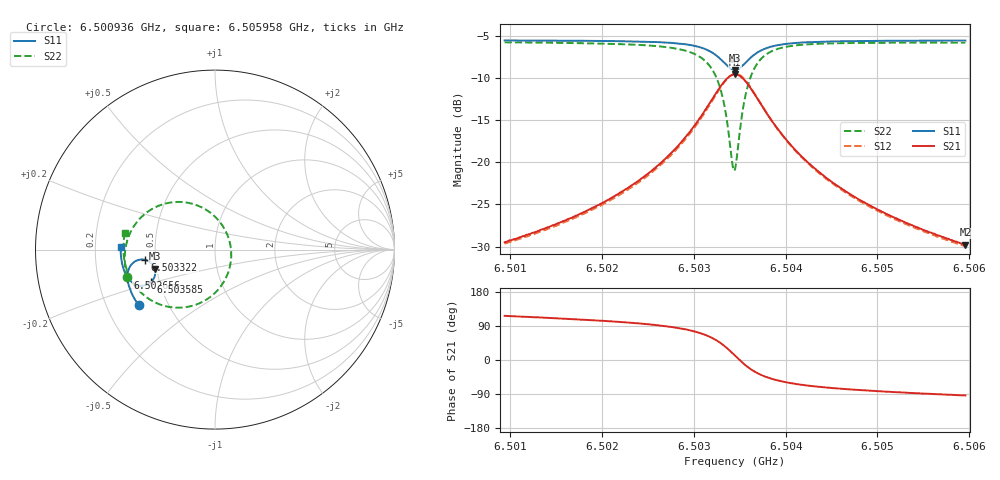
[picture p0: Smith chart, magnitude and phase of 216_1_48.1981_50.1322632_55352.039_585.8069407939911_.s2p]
#  HZ  S  RI  R  50.00
! Rohde & Schwarz Vector Network Analyzer
! Rohde-Schwarz,ZNB20-2Port,1311601062101988,3.16
! Created: UTC 3/20/2024, 11:45:44 AM
! freq[Hz]  re:S11  im:S11  re:S21  im:S21  re:S12  im:S12  re:S22  im:S22
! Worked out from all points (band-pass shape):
!   401 points, 6.500936 GHz to 6.505958 GHz, reference 50 ohm
!   highest |S21| = -9.59 dB at 6.503447 GHz (marker M1); lowest = -29.8 dB at 6.505958 GHz (marker M2)
!   |S21| within 3 dB of the highest: 6.503196 GHz to 6.503698 GHz (502.4 kHz wide, 0.00773 % of centre)
!   lowest |S11| = -9.1 dB at 6.503447 GHz (marker M3), VSWR 2.09, Z = 24.4 - j5.94 ohm
!   |S11| at or under -10 dB: nowhere
!   |S22| runs from -21.0 to -5.8 dB; largest |S21 - S12| = 0.012
!   S11 on the Smith chart (normalised r, x): 6.500936 GHz: 0.34, -0.29; 6.502656 GHz: 0.33, -0.14; 6.503322 GHz: 0.44, -0.06; 6.503585 GHz: 0.45, -0.19; 6.505958 GHz: 0.31, +0.01
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6.5009362e9  -0.4257 -0.3099  -0.015 0.03  -0.0131 0.0302  -0.4896 -0.1553
6.5017773e9  -0.462 -0.2479  -0.0141 0.0479  -0.0117 0.0475  -0.5028 -0.066
6.5022418e9  -0.4782 -0.2066  -0.0113 0.0674  -0.00829 0.0663  -0.4998 -1.77e-05
6.5026185e9  -0.4871 -0.165  -0.00224 0.0969  0.00142 0.0945  -0.4801 0.0753
6.5026561e9  -0.4876 -0.1601  -0.000476 0.101  0.00334 0.0986  -0.4762 0.0847
6.5029323e9  -0.4835 -0.1171  0.0264 0.1437  0.0301 0.1392  -0.4204 0.1708
6.5031207e9  -0.462 -0.079  0.081 0.1859  0.0836 0.1798  -0.3159 0.2434
6.5032337e9  -0.4292 -0.0585  0.1507 0.2034  0.1515 0.1969  -0.1905 0.2654
6.5033215e9  -0.3884 -0.0569  0.2306 0.1866  0.2309 0.1816  -0.0525 0.2238
6.503422e9  -0.3424 -0.0917  0.3148 0.0986  0.3174 0.0936  0.0795 0.0518
6.5034471e9  -0.336 -0.1066  0.3249 0.0661  0.3281 0.0603  0.09 -0.00887
6.5034722e9  -0.3331 -0.1223  0.3282 0.0322  0.3318 0.0252  0.0875 -0.0709
6.503535e9  -0.3404 -0.1598  0.3096 -0.046  0.3117 -0.0562  0.0309 -0.2068
6.5035852e9  -0.3569 -0.1816  0.2759 -0.0916  0.2754 -0.1031  -0.0461 -0.2778
6.5036354e9  -0.3771 -0.1948  0.2368 -0.1199  0.2338 -0.131  -0.1279 -0.3136
6.5036982e9  -0.4015 -0.2012  0.191 -0.1362  0.1856 -0.1459  -0.2178 -0.3235
6.5038614e9  -0.4478 -0.1915  0.1089 -0.133  0.1019 -0.1382  -0.3659 -0.2763
6.5040371e9  -0.4753 -0.1703  0.0642 -0.1128  0.0578 -0.115  -0.4381 -0.2109
6.5042882e9  -0.4961 -0.1402  0.034 -0.0883  0.0292 -0.0888  -0.4816 -0.1385
6.5046398e9  -0.5109 -0.1034  0.0158 -0.0661  0.0123 -0.0658  -0.5033 -0.0676
6.5051294e9  -0.5211 -0.0581  0.00511 -0.0483  0.00285 -0.0476  -0.5102 0.00229
6.505958e9  -0.5259 0.0122  -0.00206 -0.0324  -0.00336 -0.0316  -0.5025 0.0901
